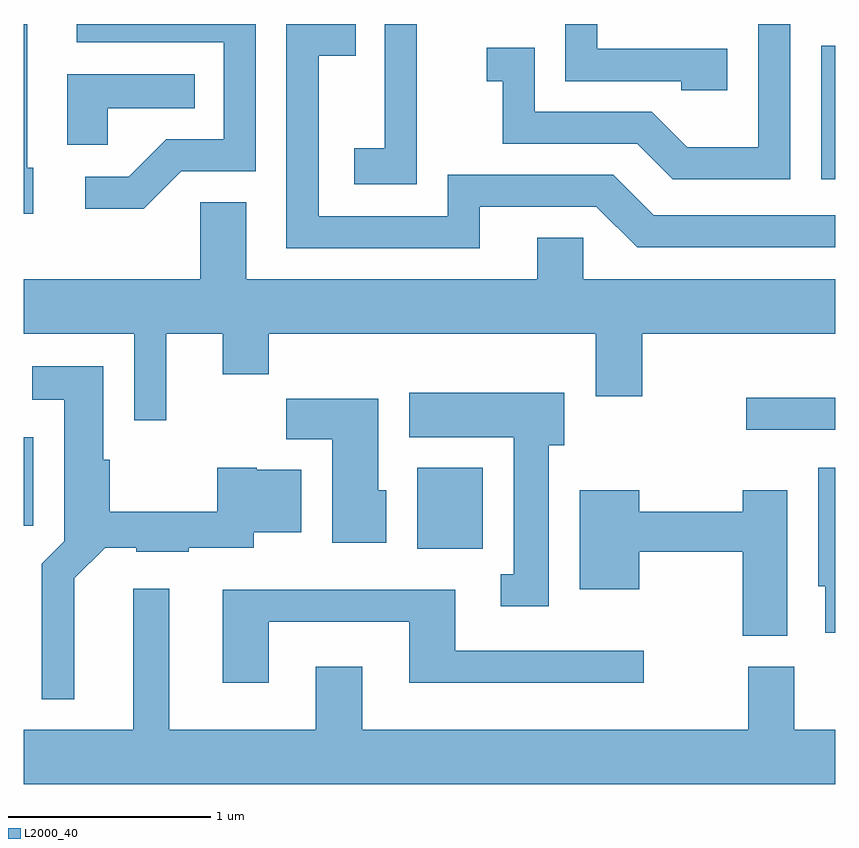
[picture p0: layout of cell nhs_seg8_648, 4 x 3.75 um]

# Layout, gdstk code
import gdstk
lib = gdstk.Library(unit=1e-6, precision=1e-09)
def R(c, l, rs):  # rectangles x0, y0, x1, y1
    for r in rs: c.add(gdstk.rectangle(r[:2], r[2:], *l))
def P(c, l, *ps):  # polygons
    for p in ps: c.add(gdstk.Polygon(p, *l))
L2000_40 = (2000, 40)

nhs_seg8_648 = lib.new_cell('nhs_seg8_648')
R(nhs_seg8_648, L2000_40, [(205.551,1879.756,205.874,1880.154), (203.611,1879.868,203.659,1880.304), (207.173,1880.341,207.611,1880.499), (207.541,1881.576,207.611,1882.234)])
P(nhs_seg8_648, L2000_40, [(207.389,1882.342),(207.231,1882.342),(207.231,1881.734),(206.882,1881.734),(206.707,1881.909),(206.129,1881.909),(206.129,1882.224),(205.893,1882.224),(205.893,1882.061),(205.971,1882.061),(205.971,1881.751),(206.634,1881.751),(206.809,1881.576),(207.389,1881.576)],
  [(204.387,1881.616),(204.754,1881.616),(204.754,1882.342),(203.873,1882.342),(203.873,1882.251),(204.596,1882.251),(204.596,1881.774),(204.314,1881.774),(204.129,1881.589),(203.913,1881.589),(203.913,1881.431),(204.202,1881.431)],
  [(205.859,1881.441),(206.434,1881.441),(206.634,1881.241),(207.611,1881.241),(207.611,1881.399),(206.717,1881.399),(206.517,1881.599),(205.701,1881.599),(205.701,1881.394),(205.064,1881.394),(205.064,1882.186),(205.248,1882.186),(205.248,1882.342),(204.906,1882.342),(204.906,1881.236),(205.859,1881.236)],
  [(203.659,1881.634),(203.629,1881.634),(203.629,1882.342),(203.611,1882.342),(203.611,1881.406),(203.659,1881.406)],
  [(207.079,1882.219),(206.439,1882.219),(206.439,1882.342),(206.281,1882.342),(206.281,1882.061),(206.851,1882.061),(206.851,1882.016),(207.079,1882.016)],
  [(205.549,1882.342),(205.391,1882.342),(205.391,1881.729),(205.241,1881.729),(205.241,1881.551),(205.549,1881.551)],
  [(204.024,1881.926),(204.453,1881.926),(204.453,1882.094),(203.826,1882.094),(203.826,1881.746),(204.024,1881.746)],
  [(204.314,1880.816),(204.591,1880.816),(204.591,1880.616),(204.819,1880.616),(204.819,1880.816),(206.431,1880.816),(206.431,1880.506),(206.659,1880.506),(206.659,1880.816),(207.611,1880.816),(207.611,1881.084),(206.369,1881.084),(206.369,1881.289),(206.141,1881.289),(206.141,1881.084),(204.709,1881.084),(204.709,1881.464),(204.481,1881.464),(204.481,1881.084),(203.611,1881.084),(203.611,1880.816),(204.156,1880.816),(204.156,1880.388),(204.314,1880.388)],
  [(203.859,1879.609),(204.012,1879.761),(204.166,1879.761),(204.166,1879.741),(204.424,1879.741),(204.424,1879.761),(204.744,1879.761),(204.744,1879.836),(204.979,1879.836),(204.979,1880.144),(204.76,1880.144),(204.76,1880.154),(204.566,1880.154),(204.566,1879.939),(204.034,1879.939),(204.034,1880.194),(204.004,1880.194),(204.004,1880.654),(203.653,1880.654),(203.653,1880.491),(203.811,1880.491),(203.811,1879.792),(203.701,1879.682),(203.701,1879.013),(203.859,1879.013)],
  [(206.199,1880.266),(206.274,1880.266),(206.274,1880.524),(205.511,1880.524),(205.511,1880.306),(206.026,1880.306),(206.026,1879.629),(205.963,1879.629),(205.963,1879.471),(206.199,1879.471)],
  [(205.399,1880.044),(205.359,1880.044),(205.359,1880.494),(204.906,1880.494),(204.906,1880.296),(205.131,1880.296),(205.131,1879.786),(205.399,1879.786)],
  [(207.611,1880.154),(207.526,1880.154),(207.526,1879.571),(207.561,1879.571),(207.561,1879.341),(207.611,1879.341)],
  [(207.374,1880.044),(207.156,1880.044),(207.156,1879.939),(206.644,1879.939),(206.644,1880.044),(206.351,1880.044),(206.351,1879.556),(206.644,1879.556),(206.644,1879.741),(207.156,1879.741),(207.156,1879.326),(207.374,1879.326)],
  [(207.611,1878.864),(207.409,1878.864),(207.409,1879.174),(207.181,1879.174),(207.181,1878.864),(205.279,1878.864),(205.279,1879.174),(205.051,1879.174),(205.051,1878.864),(204.329,1878.864),(204.329,1879.559),(204.151,1879.559),(204.151,1878.864),(203.611,1878.864),(203.611,1878.596),(207.611,1878.596)],
  [(204.819,1879.396),(205.511,1879.396),(205.511,1879.096),(206.668,1879.096),(206.668,1879.254),(205.739,1879.254),(205.739,1879.554),(204.591,1879.554),(204.591,1879.096),(204.819,1879.096)])

lib.write_gds('nhs_seg8_648.gds')
